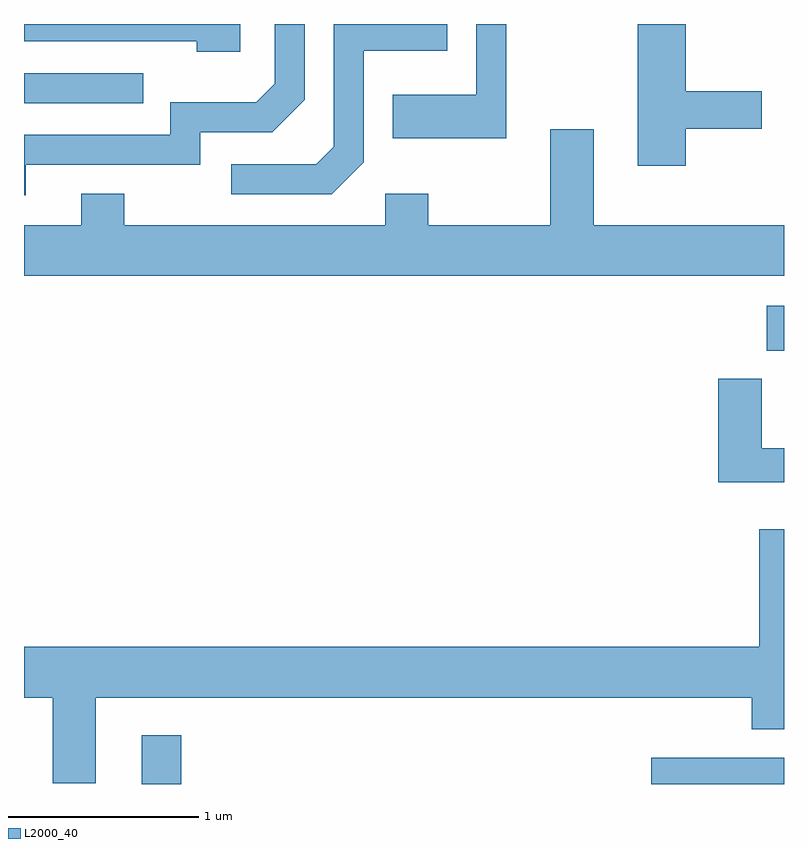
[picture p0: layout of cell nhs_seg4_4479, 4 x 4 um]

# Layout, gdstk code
import gdstk
lib = gdstk.Library(unit=1e-6, precision=1e-09)
def R(c, l, rs):  # rectangles x0, y0, x1, y1
    for r in rs: c.add(gdstk.rectangle(r[:2], r[2:], *l))
def P(c, l, *ps):  # polygons
    for p in ps: c.add(gdstk.Polygon(p, *l))
L2000_40 = (2000, 40)

nhs_seg4_4479 = lib.new_cell('nhs_seg4_4479')
R(nhs_seg4_4479, L2000_40, [(316.231,1371.982,316.439,1372.239), (318.913,1371.982,319.611,1372.119), (319.521,1374.263,319.611,1374.499), (315.611,1375.566,316.238,1375.724)])
P(nhs_seg4_4479, L2000_40, [(317.399,1375.254),(317.399,1375.841),(317.839,1375.841),(317.839,1375.982),(317.241,1375.982),(317.241,1375.337),(317.149,1375.244),(316.703,1375.244),(316.703,1375.086),(317.232,1375.086)],
  [(318.149,1375.982),(317.991,1375.982),(317.991,1375.609),(317.551,1375.609),(317.551,1375.381),(318.149,1375.381)],
  [(316.749,1375.982),(315.611,1375.982),(315.611,1375.891),(316.521,1375.891),(316.521,1375.836),(316.749,1375.836)],
  [(319.094,1375.431),(319.494,1375.431),(319.494,1375.629),(319.094,1375.629),(319.094,1375.982),(318.841,1375.982),(318.841,1375.236),(319.094,1375.236)],
  [(315.619,1375.241),(316.539,1375.241),(316.539,1375.411),(316.917,1375.411),(317.089,1375.584),(317.089,1375.982),(316.931,1375.982),(316.931,1375.667),(316.834,1375.569),(316.381,1375.569),(316.381,1375.399),(315.611,1375.399),(315.611,1375.081),(315.619,1375.081)],
  [(319.611,1374.924),(318.609,1374.924),(318.609,1375.429),(318.381,1375.429),(318.381,1374.924),(317.739,1374.924),(317.739,1375.089),(317.511,1375.089),(317.511,1374.924),(316.139,1374.924),(316.139,1375.089),(315.911,1375.089),(315.911,1374.924),(315.611,1374.924),(315.611,1374.656),(319.611,1374.656)],
  [(319.611,1373.749),(319.494,1373.749),(319.494,1374.114),(319.266,1374.114),(319.266,1373.571),(319.611,1373.571)],
  [(315.989,1372.436),(319.441,1372.436),(319.441,1372.271),(319.611,1372.271),(319.611,1373.324),(319.481,1373.324),(319.481,1372.704),(315.611,1372.704),(315.611,1372.436),(315.761,1372.436),(315.761,1371.986),(315.989,1371.986)])

lib.write_gds('nhs_seg4_4479.gds')
